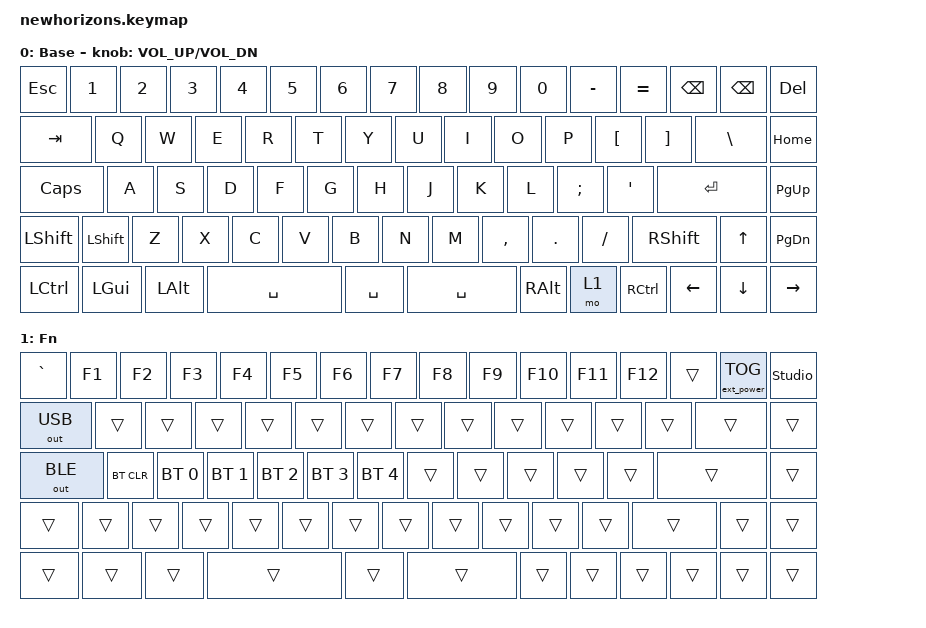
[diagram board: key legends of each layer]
/*
 * Copyright (c) 2025 The ZMK Contributors
 *
 * SPDX-License-Identifier: MIT
 */

#include <behaviors.dtsi>
#include <dt-bindings/zmk/keys.h>
#include <dt-bindings/zmk/bt.h>
#include <dt-bindings/zmk/outputs.h>
#include <dt-bindings/zmk/ext_power.h>

/ {
	keymap {
		compatible = "zmk,keymap";

		default_layer {
		    display-name = "Base";
			bindings = <
                                &kp ESC   &kp N1    &kp N2    &kp N3    &kp N4    &kp N5    &kp N6    &kp N7    &kp N8    &kp N9    &kp N0    &kp MINUS &kp EQUAL &kp BSPC  &kp BSPC  &kp DEL
                                &kp TAB     &kp Q     &kp W     &kp E     &kp R     &kp T     &kp Y     &kp U     &kp I     &kp O     &kp P     &kp LBKT  &kp RBKT    &kp BSLH    &kp HOME
                                &kp CLCK     &kp A     &kp S     &kp D     &kp F     &kp G     &kp H     &kp J     &kp K     &kp L     &kp SEMI  &kp SQT          &kp RET        &kp PG_UP
                                &kp LSHFT   &kp LSHFT &kp Z     &kp X     &kp C     &kp V     &kp B     &kp N     &kp M     &kp COMMA &kp DOT   &kp FSLH      &kp RSHFT     &kp UP    &kp PG_DN
                                &kp LCTRL  &kp LGUI   &kp LALT        &kp SPACE       &kp SPACE       &kp SPACE                     &kp RALT  &mo 1     &kp RCTRL &kp LEFT  &kp DOWN  &kp RIGHT
			>;
			sensor-bindings = <&inc_dec_kp C_VOL_UP C_VOL_DN>;
		};

		fn_layer {
		    display-name = "Fn";
			bindings = <
                                &kp GRAVE &kp F1    &kp F2    &kp F3    &kp F4    &kp F5    &kp F6    &kp F7    &kp F8    &kp F9    &kp F10    &kp F11   &kp F12  &trans    &ext_power EP_TOG    &studio_unlock
                                &out OUT_USB &trans    &trans    &trans    &trans    &trans    &trans    &trans    &trans    &trans    &trans    &trans    &trans      &trans      &trans
                                &out OUT_BLE &bt BT_CLR &bt BT_SEL 0 &bt BT_SEL 1 &bt BT_SEL 2 &bt BT_SEL 3 &bt BT_SEL 4 &trans &trans &trans &trans    &trans     &trans        &trans
                                &trans      &trans    &trans    &trans    &trans    &trans    &trans    &trans    &trans    &trans    &trans    &trans        &trans        &trans    &trans
                                &trans     &trans     &trans          &trans          &trans          &trans                        &trans    &trans    &trans    &trans    &trans    &trans
			>;
		};

		extra1 {
            status = "reserved";
        };

        extra2 {
            status = "reserved";
        };
	};
};
